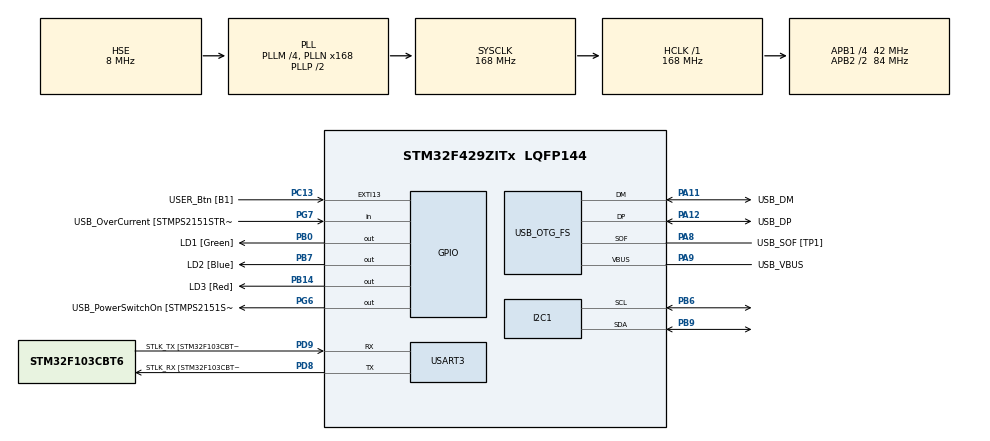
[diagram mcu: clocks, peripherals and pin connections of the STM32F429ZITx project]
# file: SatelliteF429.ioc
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Dma.Request0=USART3_RX
Dma.USART3_RX.0.Direction=DMA_PERIPH_TO_MEMORY
Dma.USART3_RX.0.FIFOMode=DMA_FIFOMODE_DISABLE
Dma.USART3_RX.0.Instance=DMA1_Stream1
Dma.USART3_RX.0.MemDataAlignment=DMA_MDATAALIGN_BYTE
Dma.USART3_RX.0.MemInc=DMA_MINC_ENABLE
Dma.USART3_RX.0.Mode=DMA_NORMAL
Dma.USART3_RX.0.PeriphDataAlignment=DMA_PDATAALIGN_BYTE
Dma.USART3_RX.0.PeriphInc=DMA_PINC_DISABLE
Dma.USART3_RX.0.Priority=DMA_PRIORITY_LOW
FREERTOS.Tasks01=defaultTask,0,128,StartDefaultTask,Default,NULL,Dynamic,NULL,NULL
FREERTOS.configENABLE_FPU=1
FREERTOS.configMINIMAL_STACK_SIZE=128
FREERTOS.configUSE_NEWLIB_REENTRANT=1
Mcu.Family=STM32F4
Mcu.Name=STM32F429ZITx
Mcu.Package=LQFP144
NVIC.DMA1_Stream1_IRQn=true\:5\:0\:false\:false\:true\:true\:false\:true
NVIC.PriorityGroup=NVIC_PRIORITYGROUP_4
NVIC.TIM8_TRG_COM_TIM14_IRQn=true\:0\:0\:false\:false\:true\:false\:false\:true
NVIC.TimeBase=TIM8_TRG_COM_TIM14_IRQn
NVIC.TimeBaseIP=TIM14
NVIC.USART3_IRQn=true\:5\:0\:false\:false\:true\:true\:true\:true
PA1.GPIO_Label=RMII_REF_CLK [LAN8742A-CZ-TR_REFCLK0]
PA1.Signal=ETH_REF_CLK
PA10.GPIO_Label=USB_ID
PA10.Signal=USB_OTG_FS_ID
PA11.GPIO_Label=USB_DM
PA11.Mode=Device_Only
PA11.Signal=USB_OTG_FS_DM
PA12.GPIO_Label=USB_DP
PA12.Mode=Device_Only
PA12.Signal=USB_OTG_FS_DP
PA13.GPIO_Label=TMS
PA13.Mode=Serial_Wire
PA13.Signal=SYS_JTMS-SWDIO
PA14.GPIO_Label=TCK
PA14.Mode=Serial_Wire
PA14.Signal=SYS_JTCK-SWCLK
PA2.GPIO_Label=RMII_MDIO [LAN8742A-CZ-TR_MDIO]
PA2.Signal=ETH_MDIO
PA7.GPIO_Label=RMII_CRS_DV [LAN8742A-CZ-TR_CRS_DV]
PA7.Signal=ETH_CRS_DV
PA8.GPIO_Label=USB_SOF [TP1]
PA8.Mode=Activate_SOF_FS
PA8.Signal=USB_OTG_FS_SOF
PA9.GPIO_Label=USB_VBUS
PA9.Mode=Activate_VBUS
PA9.Signal=USB_OTG_FS_VBUS
PB0.GPIO_Label=LD1 [Green]
PB0.Signal=GPIO_Output
PB13.GPIO_Label=RMII_TXD1 [LAN8742A-CZ-TR_TXD1]
PB13.Signal=ETH_TXD1
PB14.GPIO_Label=LD3 [Red]
PB14.Signal=GPIO_Output
PB6.Mode=I2C
PB6.Signal=I2C1_SCL
PB7.GPIO_Label=LD2 [Blue]
PB7.Signal=GPIO_Output
PB9.Mode=I2C
PB9.Signal=I2C1_SDA
PC1.GPIO_Label=RMII_MDC [LAN8742A-CZ-TR_MDC]
PC1.Signal=ETH_MDC
PC13.GPIO_Label=USER_Btn [B1]
PC13.Signal=GPXTI13
PC14/OSC32_IN.Mode=LSE-External-Oscillator
PC14/OSC32_IN.Signal=RCC_OSC32_IN
PC15/OSC32_OUT.Mode=LSE-External-Oscillator
PC15/OSC32_OUT.Signal=RCC_OSC32_OUT
PC4.GPIO_Label=RMII_RXD0 [LAN8742A-CZ-TR_RXD0]
PC4.Signal=ETH_RXD0
PC5.GPIO_Label=RMII_RXD1 [LAN8742A-CZ-TR_RXD1]
PC5.Signal=ETH_RXD1
PD8.GPIO_Label=STLK_RX [STM32F103CBT6_PA3]
PD8.Mode=Asynchronous
PD8.Signal=USART3_TX
PD9.GPIO_Label=STLK_TX [STM32F103CBT6_PA2]
PD9.Mode=Asynchronous
PD9.Signal=USART3_RX
PG11.GPIO_Label=RMII_TX_EN [LAN8742A-CZ-TR_TXEN]
PG11.Signal=ETH_TX_EN
PG13.GPIO_Label=RMII_TXD0 [LAN8742A-CZ-TR_TXD0]
PG13.Signal=ETH_TXD0
PG6.GPIO_Label=USB_PowerSwitchOn [STMPS2151STR_EN]
PG6.Signal=GPIO_Output
PG7.GPIO_Label=USB_OverCurrent [STMPS2151STR_FAULT]
PG7.Signal=GPIO_Input
PH0/OSC_IN.GPIO_Label=MCO [STM32F103CBT6_PA8]
PH0/OSC_IN.Mode=HSE-External-Clock-Source
PH0/OSC_IN.Signal=RCC_OSC_IN
PH1/OSC_OUT.Mode=HSE-External-Clock-Source
PH1/OSC_OUT.Signal=RCC_OSC_OUT
ProjectManager.HeapSize=0x200
ProjectManager.StackSize=0x400
ProjectManager.TargetToolchain=STM32CubeIDE
RCC.48MHZClocksFreq_Value=48000000
RCC.AHBFreq_Value=168000000
RCC.APB1CLKDivider=RCC_HCLK_DIV4
RCC.APB1Freq_Value=42000000
RCC.APB1TimFreq_Value=84000000
RCC.APB2CLKDivider=RCC_HCLK_DIV2
RCC.APB2Freq_Value=84000000
RCC.APB2TimFreq_Value=168000000
RCC.CortexFreq_Value=168000000
RCC.HCLKFreq_Value=168000000
RCC.HSE_VALUE=8000000
RCC.HSI_VALUE=16000000
RCC.PLLM=4
RCC.PLLMUL=RCC_PLL_MUL9
RCC.PLLN=168
RCC.PLLQ=7
RCC.PRESCALERUSB=RCC_USBCLKSOURCE_PLL_DIV1_5
RCC.SYSCLKFreq_VALUE=168000000
RCC.SYSCLKSource=RCC_SYSCLKSOURCE_PLLCLK
RCC.SYSCLKSourceVirtual=RCC_SYSCLKSOURCE_PLLCLK
RCC.USBFreq_Value=48000000
RCC.VCOOutputFreq_Value=336000000
USART3.VirtualMode=VM_ASYNC
USB_OTG_FS.VirtualMode=Device_Only
VP_FREERTOS_VS_CMSIS_V1.Mode=CMSIS_V1
VP_SYS_VS_tim14.Mode=TIM14
board=NUCLEO-F429ZI

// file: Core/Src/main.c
/* USER CODE BEGIN Header */
/**
  ******************************************************************************
  * @file           : main.c
  * @brief          : Main program body
  ******************************************************************************
  * @attention
  *
  * <h2><center>&copy; Copyright (c) 2021 STMicroelectronics.
  * All rights reserved.</center></h2>
  *
  * This software component is licensed by ST under BSD 3-Clause license,
  * the "License"; You may not use this file except in compliance with the
  * License. You may obtain a copy of the License at:
  *                        opensource.org/licenses/BSD-3-Clause
  *
  ******************************************************************************
  */
/* USER CODE END Header */
#include "main.h"
#include "cmsis_os.h"
#include "dma.h"
#include "i2c.h"
#include "usart.h"
#include "usb_otg.h"
#include "gpio.h"

/* USER CODE BEGIN Includes */
#include "UserTask.h"
/* USER CODE END Includes */

/* USER CODE BEGIN PV */
osThreadId ServiceTaskHandle;
/* USER CODE END PV */

void SystemClock_Config(void);
void MX_FREERTOS_Init(void);

int main(void)
{

  /* MCU Configuration--------------------------------------------------------*/

  /* Reset of all peripherals, Initializes the Flash interface and the Systick. */
  HAL_Init();

  /* Configure the system clock */
  SystemClock_Config();

  /* Initialize all configured peripherals */
  MX_GPIO_Init();
  MX_USART3_UART_Init();
  MX_DMA_Init();
  MX_USB_OTG_FS_PCD_Init();
  MX_I2C1_Init();

  /* Call init function for freertos objects (in freertos.c) */
  MX_FREERTOS_Init();
  /* Start scheduler */
  osKernelStart();

  /* We should never get here as control is now taken by the scheduler */
  /* Infinite loop */
  while (1)
  {

  }
}

void SystemClock_Config(void)
{
  RCC_OscInitTypeDef RCC_OscInitStruct = {0};
  RCC_ClkInitTypeDef RCC_ClkInitStruct = {0};

  /** Configure the main internal regulator output voltage
  */
  __HAL_RCC_PWR_CLK_ENABLE();
  __HAL_PWR_VOLTAGESCALING_CONFIG(PWR_REGULATOR_VOLTAGE_SCALE1);
  /** Initializes the RCC Oscillators according to the specified parameters
  * in the RCC_OscInitTypeDef structure.
  */
  RCC_OscInitStruct.OscillatorType = RCC_OSCILLATORTYPE_HSE;
  RCC_OscInitStruct.HSEState = RCC_HSE_BYPASS;
  RCC_OscInitStruct.PLL.PLLState = RCC_PLL_ON;
  RCC_OscInitStruct.PLL.PLLSource = RCC_PLLSOURCE_HSE;
  RCC_OscInitStruct.PLL.PLLM = 4;
  RCC_OscInitStruct.PLL.PLLN = 168;
  RCC_OscInitStruct.PLL.PLLP = RCC_PLLP_DIV2;
  RCC_OscInitStruct.PLL.PLLQ = 7;
  if (HAL_RCC_OscConfig(&RCC_OscInitStruct) != HAL_OK)
  {
    Error_Handler();
  }
  /** Initializes the CPU, AHB and APB buses clocks
  */
  RCC_ClkInitStruct.ClockType = RCC_CLOCKTYPE_HCLK|RCC_CLOCKTYPE_SYSCLK
                              |RCC_CLOCKTYPE_PCLK1|RCC_CLOCKTYPE_PCLK2;
  RCC_ClkInitStruct.SYSCLKSource = RCC_SYSCLKSOURCE_PLLCLK;
  RCC_ClkInitStruct.AHBCLKDivider = RCC_SYSCLK_DIV1;
  RCC_ClkInitStruct.APB1CLKDivider = RCC_HCLK_DIV4;
  RCC_ClkInitStruct.APB2CLKDivider = RCC_HCLK_DIV2;

  if (HAL_RCC_ClockConfig(&RCC_ClkInitStruct, FLASH_LATENCY_5) != HAL_OK)
  {
    Error_Handler();
  }
}

void HAL_TIM_PeriodElapsedCallback(TIM_HandleTypeDef *htim)
{
  if (htim->Instance == TIM14) {
    HAL_IncTick();
  }
}

void Error_Handler(void)
{
  /* USER CODE BEGIN Error_Handler_Debug */
  /* User can add his own implementation to report the HAL error return state */
  __disable_irq();
  while (1)
  {
	  HAL_GPIO_WritePin(LD1_GPIO_Port, LD1_Pin, GPIO_PIN_SET);
	  HAL_GPIO_WritePin(LD2_GPIO_Port, LD2_Pin, GPIO_PIN_RESET);
	  HAL_GPIO_WritePin(LD3_GPIO_Port, LD3_Pin, GPIO_PIN_SET);
	  HAL_Delay(150);
	  HAL_GPIO_WritePin(LD1_GPIO_Port, LD1_Pin, GPIO_PIN_RESET);
	  HAL_GPIO_WritePin(LD2_GPIO_Port, LD2_Pin, GPIO_PIN_SET);
	  HAL_GPIO_WritePin(LD3_GPIO_Port, LD3_Pin, GPIO_PIN_RESET);
	  HAL_Delay(150);
  }
  /* USER CODE END Error_Handler_Debug */
}

/************************ (C) COPYRIGHT STMicroelectronics *****END OF FILE****/

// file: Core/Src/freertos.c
/* USER CODE BEGIN Header */
/**
  ******************************************************************************
  * File Name          : freertos.c
  * Description        : Code for freertos applications
  ******************************************************************************
  * @attention
  *
  * <h2><center>&copy; Copyright (c) 2021 STMicroelectronics.
  * All rights reserved.</center></h2>
  *
  * This software component is licensed by ST under Ultimate Liberty license
  * SLA0044, the "License"; You may not use this file except in compliance with
  * the License. You may obtain a copy of the License at:
  *                             www.st.com/SLA0044
  *
  ******************************************************************************
  */
/* USER CODE END Header */

#include "FreeRTOS.h"
#include "task.h"
#include "main.h"
#include "cmsis_os.h"

/* USER CODE BEGIN Includes */
#include "UserTask.h"
/* USER CODE END Includes */

/* USER CODE BEGIN Variables */
osThreadId userTaskHandle;
/* USER CODE END Variables */
osThreadId defaultTaskHandle;

void StartDefaultTask(void const * argument);

void MX_FREERTOS_Init(void); /* (MISRA C 2004 rule 8.1) */

/* GetIdleTaskMemory prototype (linked to static allocation support) */
void vApplicationGetIdleTaskMemory( StaticTask_t **ppxIdleTaskTCBBuffer, StackType_t **ppxIdleTaskStackBuffer, uint32_t *pulIdleTaskStackSize );

/* USER CODE BEGIN GET_IDLE_TASK_MEMORY */
static StaticTask_t xIdleTaskTCBBuffer;
static StackType_t xIdleStack[configMINIMAL_STACK_SIZE];

void vApplicationGetIdleTaskMemory( StaticTask_t **ppxIdleTaskTCBBuffer, StackType_t **ppxIdleTaskStackBuffer, uint32_t *pulIdleTaskStackSize )
{
  *ppxIdleTaskTCBBuffer = &xIdleTaskTCBBuffer;
  *ppxIdleTaskStackBuffer = &xIdleStack[0];
  *pulIdleTaskStackSize = configMINIMAL_STACK_SIZE;
  /* place for user code */
}
/* USER CODE END GET_IDLE_TASK_MEMORY */

void MX_FREERTOS_Init(void) {

  /* Create the thread(s) */
  /* definition and creation of defaultTask */
  osThreadDef(defaultTask, StartDefaultTask, osPriorityNormal, 0, 128);
  defaultTaskHandle = osThreadCreate(osThread(defaultTask), NULL);

  /* USER CODE BEGIN RTOS_THREADS */
  /* add threads, ... */
  osThreadDef(myUserTask, UserTaskInit, osPriorityNormal, 0, 6*128);
  userTaskHandle = osThreadCreate(osThread(myUserTask), NULL);
  /* USER CODE END RTOS_THREADS */

}

void StartDefaultTask(void const * argument)
{
  /* USER CODE BEGIN StartDefaultTask */
  /* Infinite loop */
  for(;;)
  {
	  HAL_GPIO_TogglePin(LD3_GPIO_Port, LD3_Pin);
	  osDelay(1000);
  }
  /* USER CODE END StartDefaultTask */
}

/************************ (C) COPYRIGHT STMicroelectronics *****END OF FILE****/
